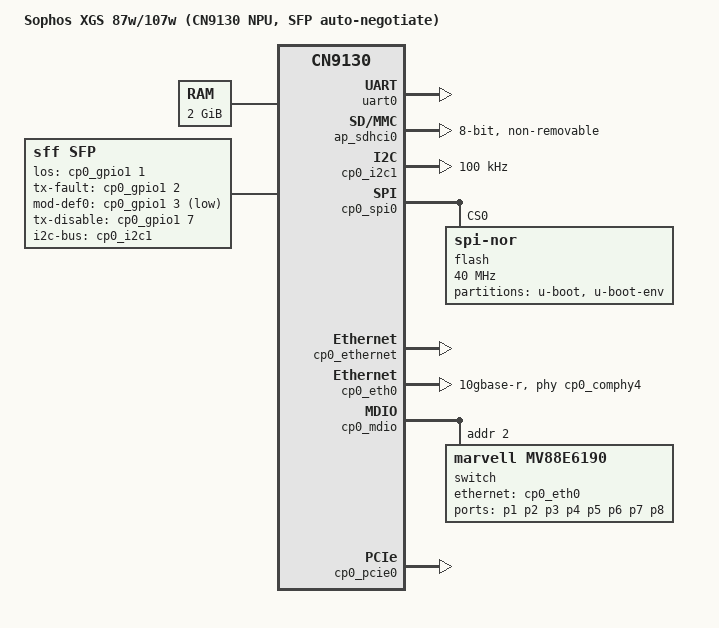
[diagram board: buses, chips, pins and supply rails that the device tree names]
// SPDX-License-Identifier: (GPL-2.0+ OR MIT)
/*
 * Sophos XGS 87w/107w NPU — CN9130 + 88E6193X.
 *
 * Based on the upstream device tree
 *   arch/arm64/boot/dts/marvell/cn9130-sophos-xgs107w.dts
 * (commit 0f72e965, "arm64: dts: marvell: Add Sophos XGS 107w NPU board").
 *
 * Local change: switch port 9 (front-panel SFP+ cage "F1") carries no
 * phy-mode / managed property, so phylink derives the interface from the
 * inserted module.  Upstream pins it to 1000base-x, which limits the cage to
 * 1 Gbps; with this DT a 10GBASE-SR module negotiates 10GBASE-R.
 */

/dts-v1/;

#include "cn9130.dtsi"
#include <dt-bindings/gpio/gpio.h>

/ {
	model = "Sophos XGS 87w/107w (CN9130 NPU, SFP auto-negotiate)";
	compatible = "sophos,xgs107w-npu", "marvell,cn9130";

	chosen {
		stdout-path = "serial0:115200n8";
	};

	aliases {
		ethernet0 = &cp0_eth0;
		i2c1 = &cp0_i2c1;
	};


	memory@0 {
		device_type = "memory";
		reg = <0x0 0x0 0x0 0x80000000>;
	};

	reserved-memory {
		/* OP-TEE, reserved by the firmware */
		tee@4400000 {
			reg = <0x0 0x4400000 0x0 0x1000000>;
			no-map;
		};

		/*
		 * Last megabyte of DRAM kept for pstore/ramoops.  This board has no
		 * console of its own -- getting to it means going out through the x86 --
		 * and the vNTB link-drop path can wedge the kernel hard enough that
		 * netconsole never gets a frame away.  With this, the next boot can read
		 * the panic or lockup trace back out of /sys/fs/pstore instead of
		 * guessing.
		 */
		ramoops@7ff00000 {
			compatible = "ramoops";
			reg = <0x0 0x7ff00000 0x0 0x100000>;
			record-size = <0x20000>;
			no-map;
		};
		};

	/* Front-panel SFP cage "F1", wired to switch port 9 */
	sfp: sfp {
		compatible = "sff,sfp";
		/*
		 * 10GBASE-T SFP+ modules declare 2.5-2.6 W, far above the 1.0 W
		 * default the SFP core assumes when this property is absent, and
		 * would otherwise be refused at power-on.  This is a permission
		 * gate, not a current limit: the module still draws what it needs.
		 */
		maximum-power-milliwatt = <2600>;
		i2c-bus = <&cp0_i2c1>;
		los-gpios = <&cp0_gpio1 1 GPIO_ACTIVE_HIGH>;
		tx-fault-gpios = <&cp0_gpio1 2 GPIO_ACTIVE_HIGH>;
		mod-def0-gpios = <&cp0_gpio1 3 GPIO_ACTIVE_LOW>;
		tx-disable-gpios = <&cp0_gpio1 7 GPIO_ACTIVE_HIGH>;
	};
};

&uart0 {
	status = "okay";
};

/* eMMC on the AP */
&ap_sdhci0 {
	bus-width = <8>;
	non-removable;
	mmc-ddr-1_8v;
	status = "okay";
};

/*
 * The MPP pin muxing is left as configured by the boot loader; the pin
 * controller node only exists to back the GPIO banks.
 */
&cp0_syscon0 {
	cp0_pinctrl: pinctrl {
		compatible = "marvell,cp115-standalone-pinctrl";
	};
};

&cp0_i2c1 {
	/* I2C bus of the SFP cage */
	clock-frequency = <100000>;
	status = "okay";
};

/* 4 MB SPI NOR with U-Boot and its environment, read-only on purpose */
&cp0_spi0 {
	status = "okay";

	flash@0 {
		compatible = "jedec,spi-nor";
		reg = <0>;
		spi-max-frequency = <40000000>;

		partitions {
			compatible = "fixed-partitions";
			#address-cells = <1>;
			#size-cells = <1>;

			partition@0 {
				label = "u-boot";
				reg = <0x0 0x3f0000>;
				read-only;
			};

			partition@3f0000 {
				label = "u-boot-env";
				reg = <0x3f0000 0x10000>;
				/* writable so fw_setenv works from Linux */
			};
		};
	};
};

&cp0_ethernet {
	status = "okay";
};

/* 10G link to switch port 0 */
&cp0_eth0 {
	phy-mode = "10gbase-r";
	phys = <&cp0_comphy4 0>;
	managed = "in-band-status";
	status = "okay";
};

&cp0_mdio {
	status = "okay";

	switch@2 {
		compatible = "marvell,mv88e6190";
		reg = <2>;
		/*
		 * No reset-gpios: the boot loader has already brought the switch
		 * up, and a hard reset at probe time would wipe the port modes
		 * (port 9 must stay in 10GBASE-R for the SFP+ cage).
		 */

		ports {
			#address-cells = <1>;
			#size-cells = <0>;

			port@0 {
				reg = <0>;
				ethernet = <&cp0_eth0>;
				phy-mode = "10gbase-r";
				managed = "in-band-status";
			};

			port@1 {
				reg = <1>;
				label = "p1";
			};

			port@2 {
				reg = <2>;
				label = "p2";
			};

			port@3 {
				reg = <3>;
				label = "p3";
			};

			port@4 {
				reg = <4>;
				label = "p4";
			};

			port@5 {
				reg = <5>;
				label = "p5";
			};

			port@6 {
				reg = <6>;
				label = "p6";
			};

			port@7 {
				reg = <7>;
				label = "p7";
			};

			port@8 {
				reg = <8>;
				label = "p8";
			};

			/*
			 * SFP+ cage: 10GBASE-R, module presence handled by phylink/sfp.
			 * "managed" is mandatory here: without it phylink uses
			 * MLO_AN_PHY, asks DSA for a PHY, and DSA falls back to the
			 * switch internal MDIO bus address 9, where the SerDes block
			 * answers with a bogus phy_id 0x00000393 and no abilities.
			 */
			port@9 {
				reg = <9>;
				label = "sfp";
				phy-mode = "10gbase-r";
				managed = "in-band-status";
				sfp = <&sfp>;
			};
		};
	};
};

/*
 * PCIe controller 0 faces the x86 host.  The boot firmware leaves it in
 * endpoint mode with the link trained, so drive it as a DesignWare endpoint:
 * pci-epf-vntb then hands the host a virtual Ethernet (ntb_netdev), which is
 * the only way the x86 -- it has no NIC of its own -- reaches the network.
 *
 * reg layout follows the stock DT (pcie-ep@600000 / pci-ep-uio): the DBI is
 * at 0xf2600000, the shadow DBI at 0xf2604000 and the outbound window at
 * 0x80_0000_0000 (256 MB of the 32 GB the firmware reserved there).
 * dma-coherent must NOT be set: this PCIe master does not snoop the CPU
 * caches, so coherent buffers would go stale.
 */
&cp0_pcie0 {
	/delete-property/ device_type;
	/delete-property/ dma-coherent;
	/delete-property/ msi-parent;
	/delete-property/ bus-range;
	/delete-property/ ranges;
	/delete-property/ interrupt-map;
	/delete-property/ interrupt-map-mask;
	/delete-property/ #address-cells;
	/delete-property/ #size-cells;
	/delete-property/ #interrupt-cells;
	/delete-property/ num-lanes;
	/delete-property/ interrupts;
	/delete-property/ clock-names;
	/delete-property/ clocks;

	compatible = "snps,dw-pcie-ep";
	reg = <0 0xf2600000 0 0x1000>,
	      <0 0xf2604000 0 0x1000>,
	      <0x80 0x0 0x0 0x10000000>;
	reg-names = "dbi", "dbi2", "addr_space";
	clocks = <&cp0_clk 1 13>;
	clock-names = "core";
	max-functions = /bits/ 8 <1>;
	num-ib-windows = <8>;
	num-ob-windows = <8>;
	status = "okay";
};
